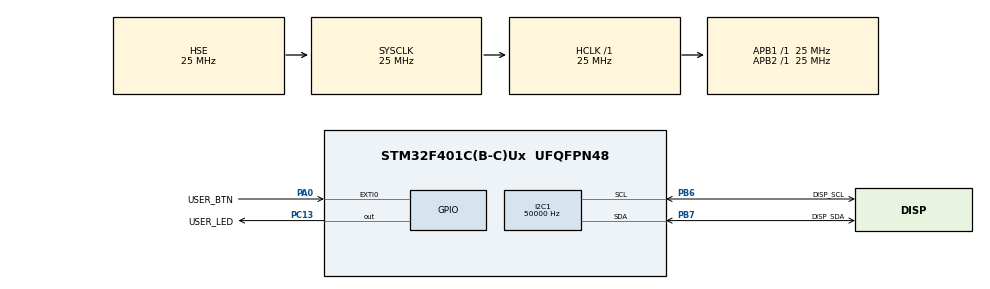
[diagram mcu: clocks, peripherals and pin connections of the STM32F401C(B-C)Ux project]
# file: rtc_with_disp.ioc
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ADC1.Channel-0\#ChannelRegularConversion=ADC_CHANNEL_VREFINT
ADC1.Channel-1\#ChannelRegularConversion=ADC_CHANNEL_TEMPSENSOR
ADC1.ContinuousConvMode=ENABLE
ADC1.DMAContinuousRequests=DISABLE
ADC1.NbrOfConversion=2
ADC1.NbrOfConversionFlag=1
ADC1.Rank-0\#ChannelRegularConversion=1
ADC1.Rank-1\#ChannelRegularConversion=2
ADC1.SamplingTime-0\#ChannelRegularConversion=ADC_SAMPLETIME_15CYCLES
ADC1.SamplingTime-1\#ChannelRegularConversion=ADC_SAMPLETIME_15CYCLES
ADC1.master=1
Dma.ADC1.0.Direction=DMA_PERIPH_TO_MEMORY
Dma.ADC1.0.FIFOMode=DMA_FIFOMODE_DISABLE
Dma.ADC1.0.Instance=DMA2_Stream0
Dma.ADC1.0.MemDataAlignment=DMA_MDATAALIGN_HALFWORD
Dma.ADC1.0.MemInc=DMA_MINC_ENABLE
Dma.ADC1.0.Mode=DMA_CIRCULAR
Dma.ADC1.0.PeriphDataAlignment=DMA_PDATAALIGN_HALFWORD
Dma.ADC1.0.PeriphInc=DMA_PINC_DISABLE
Dma.ADC1.0.Priority=DMA_PRIORITY_LOW
Dma.Request0=ADC1
I2C1.ClockSpeed=50000
Mcu.Family=STM32F4
Mcu.Name=STM32F401C(B-C)Ux
Mcu.Package=UFQFPN48
NVIC.DMA2_Stream0_IRQn=true\:0\:0\:false\:false\:true\:false\:true\:true
NVIC.EXTI0_IRQn=true\:0\:0\:false\:false\:true\:true\:true\:true
NVIC.PriorityGroup=NVIC_PRIORITYGROUP_4
NVIC.RTC_Alarm_IRQn=true\:0\:0\:false\:false\:true\:true\:true\:true
PA0-WKUP.GPIO_Label=USER_BTN
PA0-WKUP.Signal=GPXTI0
PA13.Mode=Serial_Wire
PA13.Signal=SYS_JTMS-SWDIO
PA14.Mode=Serial_Wire
PA14.Signal=SYS_JTCK-SWCLK
PB6.GPIO_Label=DISP_SCL
PB6.Mode=I2C
PB6.Signal=I2C1_SCL
PB7.GPIO_Label=DISP_SDA
PB7.Mode=I2C
PB7.Signal=I2C1_SDA
PC13-ANTI_TAMP.GPIO_Label=USER_LED
PC13-ANTI_TAMP.Signal=GPIO_Output
PC14-OSC32_IN.Mode=LSE-External-Oscillator
PC14-OSC32_IN.Signal=RCC_OSC32_IN
PC15-OSC32_OUT.Mode=LSE-External-Oscillator
PC15-OSC32_OUT.Signal=RCC_OSC32_OUT
PH0\ -\ OSC_IN.Mode=HSE-External-Oscillator
PH0\ -\ OSC_IN.Signal=RCC_OSC_IN
PH1\ -\ OSC_OUT.Mode=HSE-External-Oscillator
PH1\ -\ OSC_OUT.Signal=RCC_OSC_OUT
ProjectManager.HeapSize=0x200
ProjectManager.StackSize=0x400
ProjectManager.TargetToolchain=STM32CubeIDE
RCC.AHBFreq_Value=25000000
RCC.APB1Freq_Value=25000000
RCC.APB1TimFreq_Value=25000000
RCC.APB2Freq_Value=25000000
RCC.APB2TimFreq_Value=25000000
RCC.CortexFreq_Value=25000000
RCC.HCLKFreq_Value=25000000
RCC.HSE_VALUE=25000000
RCC.HSI_VALUE=16000000
RCC.RCC_RTC_Clock_Source=RCC_RTCCLKSOURCE_LSE
RCC.RCC_RTC_Clock_SourceVirtual=RCC_RTCCLKSOURCE_LSE
RCC.RCC_RTC_Clock_Source_FROM_HSE=RCC_RTCCLKSOURCE_HSE_DIV8
RCC.SYSCLKFreq_VALUE=25000000
RCC.SYSCLKSource=RCC_SYSCLKSOURCE_HSE
RCC.VCOOutputFreq_Value=192000000
RTC.Alarm=RTC_ALARM_A
RTC.Format=RTC_FORMAT_BIN
VP_ADC1_TempSens_Input.Mode=IN-TempSens
VP_ADC1_Vref_Input.Mode=IN-Vrefint
VP_RTC_VS_RTC_Activate.Mode=RTC_Enabled
VP_RTC_VS_RTC_Alarm_A_Intern.Mode=Alarm A
VP_RTC_VS_RTC_Calendar.Mode=RTC_Calendar
board=custom

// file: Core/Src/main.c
/* USER CODE BEGIN Header */
/**
  ******************************************************************************
  * @file           : main.c
  * @brief          : Main program body
  ******************************************************************************
  * @attention
  *
  * Copyright (c) 2025 STMicroelectronics.
  * All rights reserved.
  *
  * This software is licensed under terms that can be found in the LICENSE file
  * in the root directory of this software component.
  * If no LICENSE file comes with this software, it is provided AS-IS.
  *
  ******************************************************************************
  */
/* USER CODE END Header */
#include "main.h"

/* USER CODE BEGIN Includes */
#include "i2c-lcd.h"
#include "stdio.h"
#include "string.h"
/* USER CODE END Includes */

/* USER CODE BEGIN PD */
#define AVG_SLOPE (4.3F)
#define V_AT_25C  (1.43F)
#define V_REF_INT (1.2F)
/* USER CODE END PD */

ADC_HandleTypeDef hadc1;
DMA_HandleTypeDef hdma_adc1;

I2C_HandleTypeDef hi2c1;

RTC_HandleTypeDef hrtc;

/* USER CODE BEGIN PV */
char timeData[15];
char dateData[15];
uint16_t AD_RES[2];
float Temperature, V_Sense, V_Ref;
/* USER CODE END PV */

void SystemClock_Config(void);
static void MX_GPIO_Init(void);
static void MX_DMA_Init(void);
static void MX_I2C1_Init(void);
static void MX_RTC_Init(void);
static void MX_ADC1_Init(void);
/* USER CODE BEGIN PFP */
void set_time(uint8_t hour, uint8_t min, uint8_t sec);
void set_date(uint8_t year, uint8_t month, uint8_t date, uint8_t day);
void get_time_date(char *time, char *date);
void HAL_GPIO_EXTI_Callback(uint16_t GPIO_Pin);
/* USER CODE END PFP */

int main(void)
{

  /* MCU Configuration--------------------------------------------------------*/

  /* Reset of all peripherals, Initializes the Flash interface and the Systick. */
  HAL_Init();

  /* Configure the system clock */
  SystemClock_Config();

  /* Initialize all configured peripherals */
  MX_GPIO_Init();
  MX_DMA_Init();
  MX_I2C1_Init();
  MX_RTC_Init();
  MX_ADC1_Init();
  /* USER CODE BEGIN 2 */
  HAL_ADC_Start_DMA(&hadc1, (uint32_t*)AD_RES, 2);
  lcd_init();
  lcd_send_string("Hello world");

  HAL_Delay(200);
  lcd_clear();

  set_time(15, 24, 00);
  set_date(25, 3, 9, 7);
  /* USER CODE END 2 */

  /* Infinite loop */
  /* USER CODE BEGIN WHILE */
  while (1)
  {

      	V_Ref = (float)((V_REF_INT * 4095.0)/AD_RES[0]);
      	V_Sense = (float)(AD_RES[1] * V_Ref) / 4095.0;
      	Temperature = (((V_AT_25C - V_Sense) * 1000.0) /AVG_SLOPE) + 25.0;
	    get_time_date(timeData, dateData);
	    lcd_send_cmd (0x80|0x00);
	    lcd_send_string(timeData);
	    lcd_send_cmd (0x80|0x40);
	    lcd_send_string(dateData);
	    HAL_Delay(1000);

    /* USER CODE END WHILE */

  }
}

void SystemClock_Config(void)
{
  RCC_OscInitTypeDef RCC_OscInitStruct = {0};
  RCC_ClkInitTypeDef RCC_ClkInitStruct = {0};

  /** Configure the main internal regulator output voltage
  */
  __HAL_RCC_PWR_CLK_ENABLE();
  __HAL_PWR_VOLTAGESCALING_CONFIG(PWR_REGULATOR_VOLTAGE_SCALE2);

  /** Initializes the RCC Oscillators according to the specified parameters
  * in the RCC_OscInitTypeDef structure.
  */
  RCC_OscInitStruct.OscillatorType = RCC_OSCILLATORTYPE_HSE|RCC_OSCILLATORTYPE_LSE;
  RCC_OscInitStruct.HSEState = RCC_HSE_ON;
  RCC_OscInitStruct.LSEState = RCC_LSE_ON;
  RCC_OscInitStruct.PLL.PLLState = RCC_PLL_NONE;
  if (HAL_RCC_OscConfig(&RCC_OscInitStruct) != HAL_OK)
  {
    Error_Handler();
  }

  /** Initializes the CPU, AHB and APB buses clocks
  */
  RCC_ClkInitStruct.ClockType = RCC_CLOCKTYPE_HCLK|RCC_CLOCKTYPE_SYSCLK
                              |RCC_CLOCKTYPE_PCLK1|RCC_CLOCKTYPE_PCLK2;
  RCC_ClkInitStruct.SYSCLKSource = RCC_SYSCLKSOURCE_HSE;
  RCC_ClkInitStruct.AHBCLKDivider = RCC_SYSCLK_DIV1;
  RCC_ClkInitStruct.APB1CLKDivider = RCC_HCLK_DIV1;
  RCC_ClkInitStruct.APB2CLKDivider = RCC_HCLK_DIV1;

  if (HAL_RCC_ClockConfig(&RCC_ClkInitStruct, FLASH_LATENCY_0) != HAL_OK)
  {
    Error_Handler();
  }
}

static void MX_ADC1_Init(void)
{

  ADC_ChannelConfTypeDef sConfig = {0};

  /** Configure the global features of the ADC (Clock, Resolution, Data Alignment and number of conversion)
  */
  hadc1.Instance = ADC1;
  hadc1.Init.ClockPrescaler = ADC_CLOCK_SYNC_PCLK_DIV2;
  hadc1.Init.Resolution = ADC_RESOLUTION_12B;
  hadc1.Init.ScanConvMode = ENABLE;
  hadc1.Init.ContinuousConvMode = ENABLE;
  hadc1.Init.DiscontinuousConvMode = DISABLE;
  hadc1.Init.ExternalTrigConvEdge = ADC_EXTERNALTRIGCONVEDGE_NONE;
  hadc1.Init.ExternalTrigConv = ADC_SOFTWARE_START;
  hadc1.Init.DataAlign = ADC_DATAALIGN_RIGHT;
  hadc1.Init.NbrOfConversion = 2;
  hadc1.Init.DMAContinuousRequests = DISABLE;
  hadc1.Init.EOCSelection = ADC_EOC_SINGLE_CONV;
  if (HAL_ADC_Init(&hadc1) != HAL_OK)
  {
    Error_Handler();
  }

  /** Configure for the selected ADC regular channel its corresponding rank in the sequencer and its sample time.
  */
  sConfig.Channel = ADC_CHANNEL_VREFINT;
  sConfig.Rank = 1;
  sConfig.SamplingTime = ADC_SAMPLETIME_15CYCLES;
  if (HAL_ADC_ConfigChannel(&hadc1, &sConfig) != HAL_OK)
  {
    Error_Handler();
  }

  /** Configure for the selected ADC regular channel its corresponding rank in the sequencer and its sample time.
  */
  sConfig.Channel = ADC_CHANNEL_TEMPSENSOR;
  sConfig.Rank = 2;
  if (HAL_ADC_ConfigChannel(&hadc1, &sConfig) != HAL_OK)
  {
    Error_Handler();
  }

}

static void MX_I2C1_Init(void)
{

  hi2c1.Instance = I2C1;
  hi2c1.Init.ClockSpeed = 50000;
  hi2c1.Init.DutyCycle = I2C_DUTYCYCLE_2;
  hi2c1.Init.OwnAddress1 = 0;
  hi2c1.Init.AddressingMode = I2C_ADDRESSINGMODE_7BIT;
  hi2c1.Init.DualAddressMode = I2C_DUALADDRESS_DISABLE;
  hi2c1.Init.OwnAddress2 = 0;
  hi2c1.Init.GeneralCallMode = I2C_GENERALCALL_DISABLE;
  hi2c1.Init.NoStretchMode = I2C_NOSTRETCH_DISABLE;
  if (HAL_I2C_Init(&hi2c1) != HAL_OK)
  {
    Error_Handler();
  }

}

static void MX_RTC_Init(void)
{

  RTC_TimeTypeDef sTime = {0};
  RTC_DateTypeDef sDate = {0};
  RTC_AlarmTypeDef sAlarm = {0};

  /** Initialize RTC Only
  */
  hrtc.Instance = RTC;
  hrtc.Init.HourFormat = RTC_HOURFORMAT_24;
  hrtc.Init.AsynchPrediv = 127;
  hrtc.Init.SynchPrediv = 255;
  hrtc.Init.OutPut = RTC_OUTPUT_DISABLE;
  hrtc.Init.OutPutPolarity = RTC_OUTPUT_POLARITY_HIGH;
  hrtc.Init.OutPutType = RTC_OUTPUT_TYPE_OPENDRAIN;
  if (HAL_RTC_Init(&hrtc) != HAL_OK)
  {
    Error_Handler();
  }

  /** Initialize RTC and set the Time and Date
  */
  sTime.Hours = 0;
  sTime.Minutes = 0;
  sTime.Seconds = 0;
  sTime.DayLightSaving = RTC_DAYLIGHTSAVING_NONE;
  sTime.StoreOperation = RTC_STOREOPERATION_RESET;
  if (HAL_RTC_SetTime(&hrtc, &sTime, RTC_FORMAT_BIN) != HAL_OK)
  {
    Error_Handler();
  }
  sDate.WeekDay = RTC_WEEKDAY_MONDAY;
  sDate.Month = RTC_MONTH_JANUARY;
  sDate.Date = 1;
  sDate.Year = 0;

  if (HAL_RTC_SetDate(&hrtc, &sDate, RTC_FORMAT_BIN) != HAL_OK)
  {
    Error_Handler();
  }

  /** Enable the Alarm A
  */
  sAlarm.AlarmTime.Hours = 0;
  sAlarm.AlarmTime.Minutes = 0;
  sAlarm.AlarmTime.Seconds = 0;
  sAlarm.AlarmTime.SubSeconds = 0;
  sAlarm.AlarmTime.DayLightSaving = RTC_DAYLIGHTSAVING_NONE;
  sAlarm.AlarmTime.StoreOperation = RTC_STOREOPERATION_RESET;
  sAlarm.AlarmMask = RTC_ALARMMASK_NONE;
  sAlarm.AlarmSubSecondMask = RTC_ALARMSUBSECONDMASK_ALL;
  sAlarm.AlarmDateWeekDaySel = RTC_ALARMDATEWEEKDAYSEL_DATE;
  sAlarm.AlarmDateWeekDay = 1;
  sAlarm.Alarm = RTC_ALARM_A;
  if (HAL_RTC_SetAlarm_IT(&hrtc, &sAlarm, RTC_FORMAT_BIN) != HAL_OK)
  {
    Error_Handler();
  }

}

static void MX_DMA_Init(void)
{

  /* DMA controller clock enable */
  __HAL_RCC_DMA2_CLK_ENABLE();

  /* DMA interrupt init */
  /* DMA2_Stream0_IRQn interrupt configuration */
  HAL_NVIC_SetPriority(DMA2_Stream0_IRQn, 0, 0);
  HAL_NVIC_EnableIRQ(DMA2_Stream0_IRQn);

}

static void MX_GPIO_Init(void)
{
  GPIO_InitTypeDef GPIO_InitStruct = {0};

  /* GPIO Ports Clock Enable */
  __HAL_RCC_GPIOC_CLK_ENABLE();
  __HAL_RCC_GPIOH_CLK_ENABLE();
  __HAL_RCC_GPIOA_CLK_ENABLE();
  __HAL_RCC_GPIOB_CLK_ENABLE();

  /*Configure GPIO pin Output Level */
  HAL_GPIO_WritePin(USER_LED_GPIO_Port, USER_LED_Pin, GPIO_PIN_RESET);

  /*Configure GPIO pin : USER_LED_Pin */
  GPIO_InitStruct.Pin = USER_LED_Pin;
  GPIO_InitStruct.Mode = GPIO_MODE_OUTPUT_PP;
  GPIO_InitStruct.Pull = GPIO_NOPULL;
  GPIO_InitStruct.Speed = GPIO_SPEED_FREQ_LOW;
  HAL_GPIO_Init(USER_LED_GPIO_Port, &GPIO_InitStruct);

  /*Configure GPIO pin : USER_BTN_Pin */
  GPIO_InitStruct.Pin = USER_BTN_Pin;
  GPIO_InitStruct.Mode = GPIO_MODE_IT_RISING;
  GPIO_InitStruct.Pull = GPIO_NOPULL;
  HAL_GPIO_Init(USER_BTN_GPIO_Port, &GPIO_InitStruct);

  /* EXTI interrupt init*/
  HAL_NVIC_SetPriority(EXTI0_IRQn, 0, 0);
  HAL_NVIC_EnableIRQ(EXTI0_IRQn);

}

/* USER CODE BEGIN 4 */
void set_time(uint8_t hour, uint8_t min, uint8_t sec)
{
	RTC_TimeTypeDef sTime = {0};
	sTime.Hours = hour;
	sTime.Minutes = min;
	sTime.Seconds = sec;
	if (HAL_RTC_SetTime(&hrtc, &sTime, RTC_FORMAT_BIN) != HAL_OK)
	{
		Error_Handler();
	}
}

void set_date(uint8_t year, uint8_t month, uint8_t date, uint8_t day)
{
	RTC_DateTypeDef sDate = {0};
	sDate.WeekDay = day;
	sDate.Month = month;
	sDate.Date = date;
	sDate.Year = year;
	if (HAL_RTC_SetDate(&hrtc, &sDate, RTC_FORMAT_BIN) != HAL_OK)
	{
		Error_Handler();
	}

	HAL_RTCEx_BKUPWrite(&hrtc, RTC_BKP_DR1, 0x2345);  // backup register
}

void get_time_date(char *time, char *date)
{
  RTC_DateTypeDef gDate;
  RTC_TimeTypeDef gTime;

  /* Get the RTC current Time */
  HAL_RTC_GetTime(&hrtc, &gTime, RTC_FORMAT_BIN);
  /* Get the RTC current Date */
  HAL_RTC_GetDate(&hrtc, &gDate, RTC_FORMAT_BIN);

  /* Display time Format: hh:mm:ss */
  sprintf(time,"%02d:%02d:%02d",gTime.Hours, gTime.Minutes, gTime.Seconds);

  /* Display date Format: dd-mm-yyyy */
  sprintf(date,"%02d-%02d-%2d",gDate.Date, gDate.Month, 2000 + gDate.Year);
}

void HAL_GPIO_EXTI_Callback(uint16_t GPIO_Pin)
{
    if(GPIO_Pin == GPIO_PIN_0) // If The INT Source Is EXTI Line9 (A9 Pin)
    {
    }
}
/* USER CODE END 4 */

void Error_Handler(void)
{
  __disable_irq();
  while (1)
  {
  }
}
